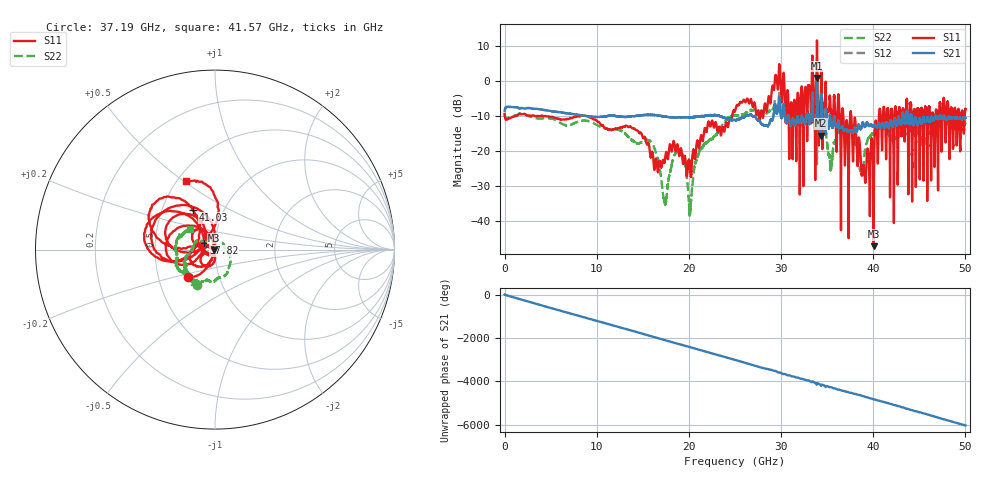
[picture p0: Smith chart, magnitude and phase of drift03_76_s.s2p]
!Created with skrf (http://scikit-rf.org).
# Hz S RI R 50.0
!freq ReS11 ImS11 ReS21 ImS21 ReS12 ImS12 ReS22 ImS22
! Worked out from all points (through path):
!   10001 points, 300 kHz to 50 GHz, reference 50 ohm
!   highest |S21| = 0.91 dB at 33.9 GHz (marker M1); lowest = -15.5 dB at 34.32 GHz (marker M2)
!   group delay of S21, straight-line fit = 335 ps
!   lowest |S11| = -47.1 dB at 40.05 GHz (marker M3), VSWR 1.01, Z = 49.6 - j0.174 ohm
!   |S11| at or under -10 dB: 4.472 GHz to 7.949 GHz (3.477 GHz wide, 56 % of centre); 9.028 GHz to 24.7 GHz (15.67 GHz wide, 92.9 % of centre); 37.62 GHz to 40.62 GHz (2.999 GHz wide, 7.67 % of centre) (the widest 3 of 54)
!   |S22| runs from -38.8 to -5.9 dB; largest |S21 - S12| = 0.11
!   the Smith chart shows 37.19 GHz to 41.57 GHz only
!   S11 on the Smith chart (normalised r, x): 37.19 GHz: 0.70, -0.23; 37.82 GHz: 0.88, +0.07; 41.03 GHz: 0.71, +0.34; 41.57 GHz: 0.56, +0.51
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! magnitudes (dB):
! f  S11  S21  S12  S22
! 300 kHz  -9.4  -8.5  -8.5  -9.3
! 8.335 GHz  -9.9  -9.8  -9.8  -11.3
! 16.67 GHz  -25.4  -9.8  -9.8  -23.0
! 17.41 GHz  -22.2  -10.1  -10.1  -35.0
! 19.09 GHz  -19.6  -10.3  -10.3  -20.1
! 20.14 GHz  -24.7  -10.3  -10.3  -37.7
! 21.19 GHz  -17.9  -10.1  -10.1  -19.7
! 25 GHz  -8.5  -11.1  -11.1  -9.8
! 29.66 GHz  -2.3  -8.3  -8.4  -7.1
! 31.08 GHz  -6.1  -12.6  -12.7  -10.5
! 33.34 GHz  0.5  -7.4  -7.5  -9.3
! 33.9 GHz  11.6  0.9  0.5  -23.7
! 34.32 GHz  -2.9  -15.5  -14.9  -11.2
! 35.35 GHz  -6.8  -10.8  -10.2  -25.0
! 37.19 GHz  -13.3  -14.2  -14.1  -13.2
! 37.82 GHz  -22.8  -14.6  -14.5  -14.7
! 38.71 GHz  -25.3  -13.4  -13.2  -25.5
! 40.05 GHz  -47.1  -12.8  -12.8  -15.2
! 41.03 GHz  -11.9  -12.0  -12.0  -13.2
! 41.57 GHz  -7.7  -12.7  -12.6  -14.9
! 41.67 GHz  -9.4  -13.3  -13.2  -14.9
! 50 GHz  -7.9  -10.5  -10.5  -12.1
